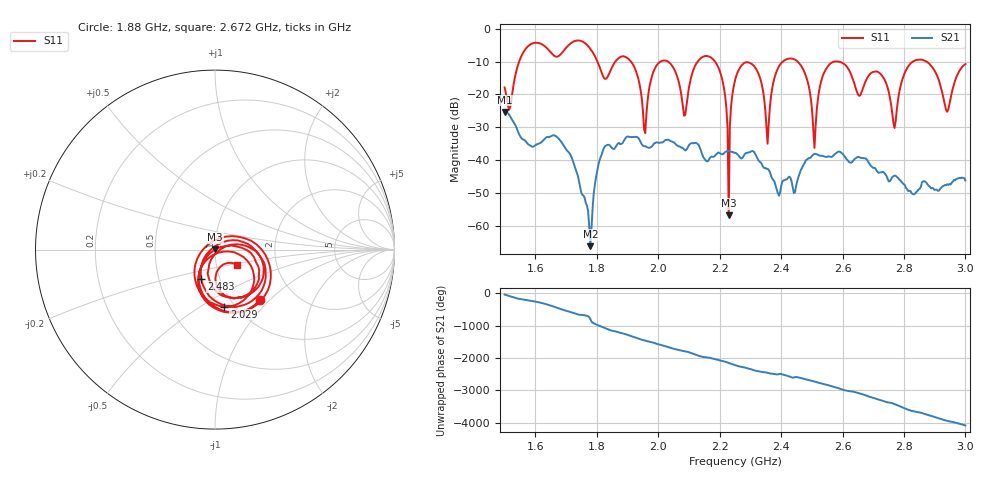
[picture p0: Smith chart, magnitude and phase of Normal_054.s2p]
# HZ S RI R 50
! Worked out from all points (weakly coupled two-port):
!   404 points, 1.5 GHz to 3 GHz, reference 50 ohm
!   highest |S21| = -25.39 dB at 1.5 GHz (marker M1); lowest = -66.2 dB at 1.779 GHz (marker M2)
!   lowest |S11| = -56.8 dB at 2.23 GHz (marker M3), VSWR 1.00, Z = 50.1 + j0.0939 ohm
!   |S11| at or under -10 dB: 2.185 GHz to 2.406 GHz (220.9 MHz wide, 9.62 % of centre); 2.586 GHz to 2.829 GHz (243.2 MHz wide, 8.98 % of centre); 2.873 GHz to end of sweep (the widest 3 of 8)
!   S12 and S22 are empty: the file has one direction only
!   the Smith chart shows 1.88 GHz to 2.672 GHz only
!   S11 on the Smith chart (normalised r, x): 1.88 GHz: 1.33, -0.88; 2.029 GHz: 0.90, -0.64; 2.483 GHz: 0.82, -0.28; 2.672 GHz: 1.25, -0.22
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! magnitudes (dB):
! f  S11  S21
! 1.5 GHz  -17.9  -25.4
! 1.753 GHz  -3.9  -50.6
! 1.779 GHz  -6.1  -66.2
! 1.816 GHz  -13.5  -38.2
! 1.88 GHz  -8.5  -35.1
! 1.958 GHz  -31.8  -35.7
! 2.002 GHz  -10.4  -34.8
! 2.029 GHz  -9.8  -33.8
! 2.084 GHz  -26.5  -36.8
! 2.181 GHz  -9.6  -39.0
! 2.23 GHz  -56.8  -37.2
! 2.252 GHz  -15.1  -37.8
! 2.315 GHz  -11.8  -38.0
! 2.356 GHz  -35.0  -42.7
! 2.401 GHz  -10.4  -47.7
! 2.483 GHz  -14.9  -39.9
! 2.501 GHz  -25.3  -38.7
! 2.565 GHz  -10.3  -39.0
! 2.672 GHz  -16.6  -39.4
! 2.751 GHz  -19.3  -46.5
! 2.94 GHz  -25.3  -47.4
! 3 GHz  -10.8  -46.2
